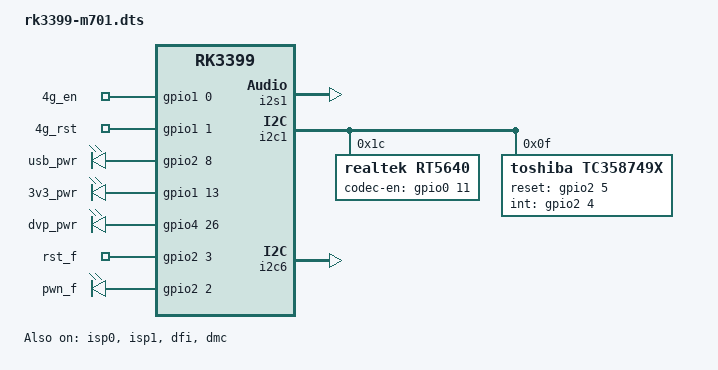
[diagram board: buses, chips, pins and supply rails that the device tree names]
/*
 * Copyright (c) 2018 Fuzhou Rockchip Electronics Co., Ltd
 *
 * SPDX-License-Identifier: (GPL-2.0+ OR MIT)
 */

/dts-v1/;
#include "rk3399-m701.dtsi"

/ {
	compatible = "rockchip,rk3399-tve1030g", "rockchip,rk3399";

	rt5640-sound {
		compatible = "simple-audio-card";
		simple-audio-card,format = "i2s";
		simple-audio-card,name = "rockchiprt5640c";
		simple-audio-card,mclk-fs = <256>;
		simple-audio-card,widgets =
			"Microphone", "Mic Jack",
			"Headphone", "Headphone Jack";
		simple-audio-card,routing =
			"Mic Jack", "MICBIAS1",
			"IN1P", "Mic Jack",
			"Headphone Jack", "HPOL",
			"Headphone Jack", "HPOR";
		simple-audio-card,cpu {
			sound-dai = <&i2s1>;
		};
		simple-audio-card,codec {
			sound-dai = <&rt5640>;
		};
	};

	leds {
                status = "okay";
                compatible = "gpio-leds";
		
		4g_en {
                        gpios = <&gpio1 0 GPIO_ACTIVE_HIGH>;
                        default-state = "on";
                };
		4g_rst {
			gpios = <&gpio1 1 GPIO_ACTIVE_HIGH>;
                        default-state = "on";
		};
		usb_pwr {
			gpios = <&gpio2 8 GPIO_ACTIVE_HIGH>;
                        default-state = "on";
		};
		3v3_pwr {
			gpios = <&gpio1 13 GPIO_ACTIVE_HIGH>;
                        default-state = "on";
		};
		dvp_pwr {
			gpios = <&gpio4 26 GPIO_ACTIVE_HIGH>;
                        default-state = "on";
		};
		rst_f {
			gpios = <&gpio2 3 GPIO_ACTIVE_HIGH>;
                        default-state = "on";
		};
		pwn_f {
			gpios = <&gpio2 2 GPIO_ACTIVE_HIGH>;
                        default-state = "on";
		};
	};
};

&i2s0 {
	status = "disabled";
	
};

&i2s1 {
	status = "okay";
};


&i2c1 {
	status = "okay";
	i2c-scl-rising-time-ns = <140>;
        i2c-scl-falling-time-ns = <30>;

	rt5640: rt5640@1c {
		#sound-dai-cells = <0>;
		compatible = "realtek,rt5640";
		reg = <0x1c>;
		clocks = <&cru SCLK_I2S_8CH_OUT>;
		clock-names = "mclk";
		realtek,in1-differential;
		pinctrl-names = "default";
		pinctrl-0 = <&i2s_8ch_mclk>;
		realtek,codec-en-gpio = <&gpio0 11 GPIO_ACTIVE_HIGH>;
		status = "okay";
	};

	tc358749x: tc358749x@0f {
                compatible = "toshiba,tc358749x";
                reg = <0x0f>;
                //power-gpios = <&gpio2 6 GPIO_ACTIVE_HIGH>;
                //power18-gpios = <&gpio2 9 GPIO_ACTIVE_HIGH>;
                //power33-gpios = <&gpio2 5 GPIO_ACTIVE_HIGH>;
                //csi-ctl-gpios = <&gpio2 10 GPIO_ACTIVE_HIGH>;
                //stanby-gpios = <&gpio2 8 GPIO_ACTIVE_HIGH>;
                reset-gpios = <&gpio2 5 GPIO_ACTIVE_HIGH>;
                int-gpios = <&gpio2 4 GPIO_ACTIVE_HIGH>;
                pinctrl-names = "default";
                pinctrl-0 = <&hdmiin_gpios>;
                status = "okay";
        };
};

&i2c6 {
	status = "okay";
};

&isp0 {
	status = "okay";
};

&isp1 {
	status = "okay";
};

&isp0_mmu {
        status = "okay";
};

&isp1_mmu {
        status = "okay";
};

&dfi {
	status = "okay";
};

&dmc {
	status = "okay";
	center-supply = <&vdd_center>;
	system-status-freq = <
		/*system status         freq(KHz)*/
		SYS_STATUS_NORMAL       666000
		SYS_STATUS_REBOOT       666000
		SYS_STATUS_SUSPEND      328000
		SYS_STATUS_VIDEO_1080P  666000
		SYS_STATUS_VIDEO_4K     856000
		SYS_STATUS_VIDEO_4K_10B 856000
		SYS_STATUS_PERFORMANCE  856000
		SYS_STATUS_BOOST        856000
		SYS_STATUS_DUALVIEW     856000
		SYS_STATUS_ISP          856000
	>;
	vop-bw-dmc-freq = <
	/* min_bw(MB/s) max_bw(MB/s) freq(KHz) */
		0       762      416000
		763     3012     666000
		3013    99999     856000
	>;
	auto-min-freq = <328000>;
	auto-freq-en = <0>;
};

&dmc_opp_table {
	compatible = "operating-points-v2";

	opp-200000000 {
		opp-hz = /bits/ 64 <200000000>;
		opp-microvolt = <900000>;
		status = "disabled";
	};
	opp-300000000 {
		opp-hz = /bits/ 64 <300000000>;
		opp-microvolt = <900000>;
		status = "disabled";
	};
	opp-328000000 {
		opp-hz = /bits/ 64 <328000000>;
		opp-microvolt = <900000>;
	};
	opp-400000000 {
		opp-hz = /bits/ 64 <400000000>;
		opp-microvolt = <900000>;
		status = "disabled";
	};
	opp-416000000 {
		opp-hz = /bits/ 64 <416000000>;
		opp-microvolt = <900000>;
	};
	opp-528000000 {
		opp-hz = /bits/ 64 <528000000>;
		opp-microvolt = <900000>;
		status = "disabled";
	};
	opp-666000000 {
		opp-hz = /bits/ 64 <666000000>;
		opp-microvolt = <900000>;
	};
	opp-600000000 {
		opp-hz = /bits/ 64 <600000000>;
		opp-microvolt = <900000>;
		status = "disabled";
	};
	opp-800000000 {
		opp-hz = /bits/ 64 <800000000>;
		opp-microvolt = <900000>;
		status = "disabled";
	};
	opp-856000000 {
		opp-hz = /bits/ 64 <856000000>;
		opp-microvolt = <900000>;
	};
	opp-928000000 {
		opp-hz = /bits/ 64 <928000000>;
		opp-microvolt = <900000>;
		status = "disabled";
	};
	opp-1056000000 {
		opp-hz = /bits/ 64 <1056000000>;
		opp-microvolt = <900000>;
		status = "disabled";
	};
};

&pinctrl {

	lsm330_a {
		lsm330a_irq_gpio: lsm330a-irq-gpio {
			rockchip,pins = <3 1 RK_FUNC_GPIO &pcfg_pull_none>;
		};
	};

	lsm330_g {
		lsm330g_irq_gpio: lsm330g-irq-gpio {
			rockchip,pins = <3 0 RK_FUNC_GPIO &pcfg_pull_none>;
		};
	};
        ak8963 {
           ak8963_irq_gpio: ak8963-irq-gpio {
               rockchip,pins = <3 2 RK_FUNC_GPIO &pcfg_pull_none>;
           };
       };
	led {
                chg_red: chg-red {
                        rockchip,pins = <0 8 RK_FUNC_GPIO &pcfg_pull_none>;
                };
                chg_green: chg-green {
                        rockchip,pins = <0 13 RK_FUNC_GPIO &pcfg_pull_none>;
                };
        };
	finger {
                finger_rst: finger-rst {
                        rockchip,pins = <3 12 RK_FUNC_GPIO &pcfg_pull_none>;
                };
                finger_int: finger-int {
                        rockchip,pins = <3 13 RK_FUNC_GPIO &pcfg_pull_none>;
                };
        };

	nfc {
		nfc_ven:nfc-ven {
			rockchip,pins = <1 24 RK_FUNC_GPIO &pcfg_pull_none>;
		};
		nfc_irq:nfc-irq {
			rockchip,pins = <1 9 RK_FUNC_GPIO &pcfg_pull_none>;
		};
		nfc_fwd:nfc-fwd {
			rockchip,pins = <1 10 RK_FUNC_GPIO &pcfg_pull_none>;
		};
	};

	leadcore {
                lte_pwr: lte-pwr {
                        rockchip,pins = <1 23 RK_FUNC_GPIO &pcfg_pull_none>;
                };
                vcc_pwr: vcc-pwr {
                        rockchip,pins = <1 13 RK_FUNC_GPIO &pcfg_pull_none>;
                };
                lead_en: lead-en {
                        rockchip,pins = <1 0 RK_FUNC_GPIO &pcfg_pull_none>;
                };
                lead_rst: lead-rst {
                        rockchip,pins = <3 29 RK_FUNC_GPIO &pcfg_pull_none>;
                };
        };

	hdmiin {
                hdmiin_gpios: hdmiin_gpios {
                rockchip,pins =
                                <2 5 RK_FUNC_GPIO &pcfg_pull_none>,
                                <2 4 RK_FUNC_GPIO &pcfg_pull_none>;
                };
        };
};
